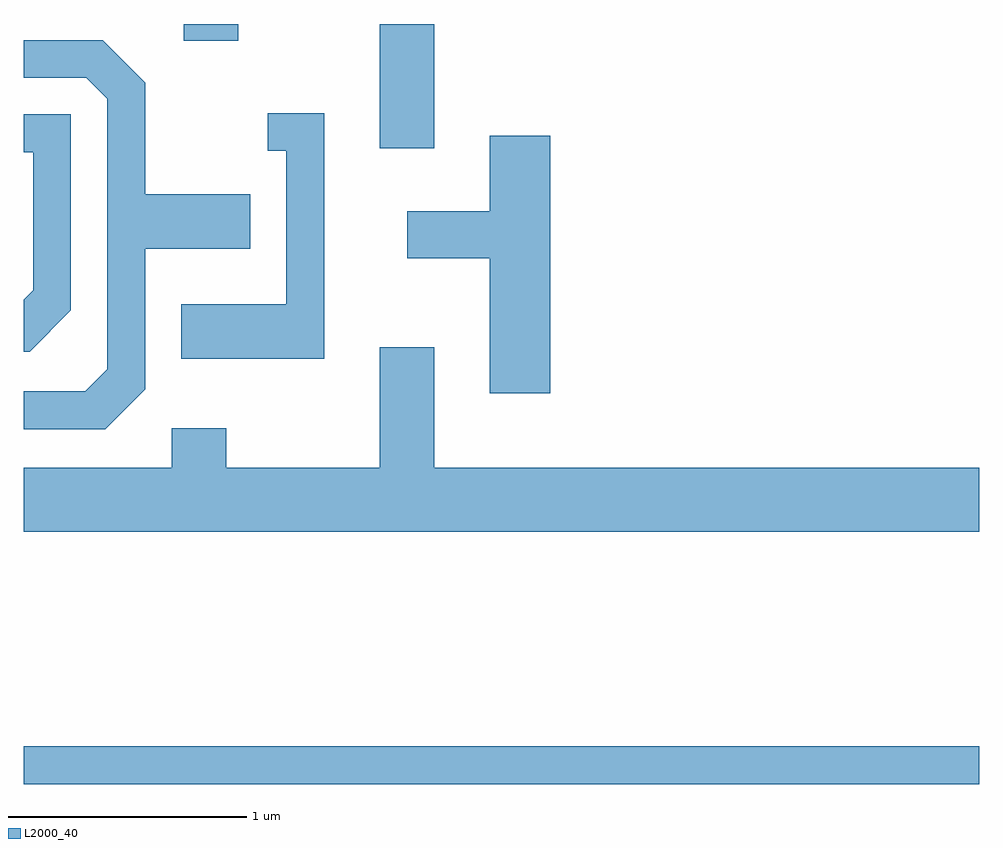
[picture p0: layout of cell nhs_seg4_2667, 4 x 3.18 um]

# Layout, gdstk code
import gdstk
lib = gdstk.Library(unit=1e-6, precision=1e-09)
def R(c, l, rs):  # rectangles x0, y0, x1, y1
    for r in rs: c.add(gdstk.rectangle(r[:2], r[2:], *l))
def P(c, l, *ps):  # polygons
    for p in ps: c.add(gdstk.Polygon(p, *l))
L2000_40 = (2000, 40)

nhs_seg4_2667 = lib.new_cell('nhs_seg4_2667')
R(nhs_seg4_2667, L2000_40, [(263.611,1284.801,267.611,1284.959), (265.101,1287.461,265.329,1287.982), (264.281,1287.911,264.509,1287.982)])
P(nhs_seg4_2667, L2000_40, [(264.119,1286.454),(264.119,1287.041),(264.559,1287.041),(264.559,1287.269),(264.119,1287.269),(264.119,1287.737),(263.942,1287.914),(263.611,1287.914),(263.611,1287.756),(263.874,1287.756),(263.961,1287.669),(263.961,1286.537),(263.869,1286.444),(263.611,1286.444),(263.611,1286.286),(263.952,1286.286)],
  [(264.869,1287.609),(264.633,1287.609),(264.633,1287.451),(264.711,1287.451),(264.711,1286.809),(264.271,1286.809),(264.271,1286.581),(264.869,1286.581)],
  [(263.809,1286.784),(263.809,1287.604),(263.611,1287.604),(263.611,1287.446),(263.651,1287.446),(263.651,1286.867),(263.611,1286.827),(263.611,1286.611),(263.637,1286.611)],
  [(265.814,1287.514),(265.561,1287.514),(265.561,1287.199),(265.216,1287.199),(265.216,1287.001),(265.561,1287.001),(265.561,1286.436),(265.814,1286.436)],
  [(267.611,1286.124),(265.329,1286.124),(265.329,1286.629),(265.101,1286.629),(265.101,1286.124),(264.459,1286.124),(264.459,1286.289),(264.231,1286.289),(264.231,1286.124),(263.611,1286.124),(263.611,1285.856),(267.611,1285.856)])

lib.write_gds('nhs_seg4_2667.gds')
